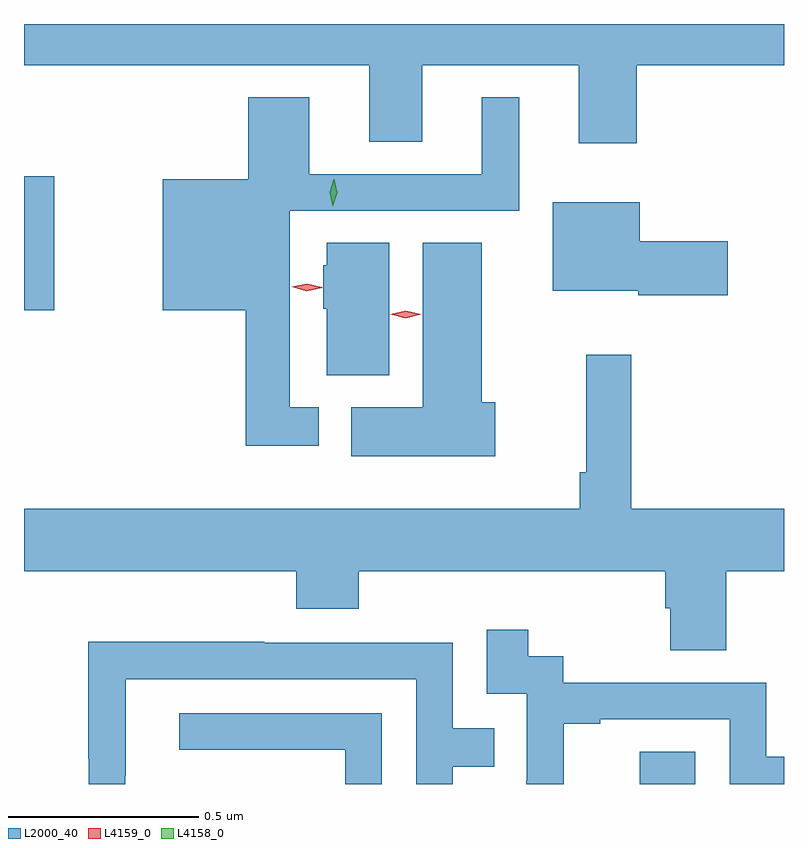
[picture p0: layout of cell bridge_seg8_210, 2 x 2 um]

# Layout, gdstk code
import gdstk
lib = gdstk.Library(unit=1e-6, precision=1e-09)
def R(c, l, rs):  # rectangles x0, y0, x1, y1
    for r in rs: c.add(gdstk.rectangle(r[:2], r[2:], *l))
def P(c, l, *ps):  # polygons
    for p in ps: c.add(gdstk.Polygon(p, *l))
L2000_40 = (2000, 40)
L4158_0 = (4158, 0)
L4159_0 = (4159, 0)

bridge_seg8_210 = lib.new_cell('bridge_seg8_210')
R(bridge_seg8_210, L2000_40, [(160.827,1105.284,160.974,1105.369), (159.207,1106.531,159.286,1106.884)])
P(bridge_seg8_210, L2000_40, [(160.82,1107.176),(161.207,1107.176),(161.207,1107.284),(159.207,1107.284),(159.207,1107.176),(160.115,1107.176),(160.115,1106.974),(160.255,1106.974),(160.255,1107.176),(160.667,1107.176),(160.667,1106.97),(160.82,1106.97)],
  [(159.983,1106.276),(159.906,1106.276),(159.906,1106.793),(160.51,1106.793),(160.51,1107.091),(160.412,1107.091),(160.412,1106.889),(159.958,1106.889),(159.958,1107.091),(159.797,1107.091),(159.797,1106.875),(159.572,1106.875),(159.572,1106.531),(159.79,1106.531),(159.79,1106.174),(159.983,1106.174)],
  [(161.059,1106.712),(160.828,1106.712),(160.828,1106.815),(160.598,1106.815),(160.598,1106.582),(160.824,1106.582),(160.824,1106.57),(161.059,1106.57)],
  [(160.447,1106.288),(160.411,1106.288),(160.411,1106.708),(160.256,1106.708),(160.256,1106.275),(160.068,1106.275),(160.068,1106.147),(160.447,1106.147)],
  [(160.168,1106.708),(160.004,1106.708),(160.004,1106.649),(159.995,1106.649),(159.995,1106.535),(160.004,1106.535),(160.004,1106.36),(160.168,1106.36)],
  [(161.055,1105.844),(161.207,1105.844),(161.207,1106.008),(160.805,1106.008),(160.805,1106.413),(160.687,1106.413),(160.687,1106.104),(160.669,1106.104),(160.669,1106.008),(159.207,1106.008),(159.207,1105.844),(159.923,1105.844),(159.923,1105.745),(160.088,1105.745),(160.088,1105.844),(160.895,1105.844),(160.895,1105.746),(160.907,1105.746),(160.907,1105.636),(161.055,1105.636)],
  [(160.628,1105.443),(160.723,1105.443),(160.723,1105.455),(161.064,1105.455),(161.064,1105.284),(161.207,1105.284),(161.207,1105.356),(161.16,1105.356),(161.16,1105.551),(160.626,1105.551),(160.626,1105.62),(160.534,1105.62),(160.534,1105.69),(160.425,1105.69),(160.425,1105.521),(160.53,1105.521),(160.53,1105.292),(160.529,1105.292),(160.529,1105.284),(160.628,1105.284)],
  [(159.474,1105.306),(159.475,1105.306),(159.475,1105.56),(160.239,1105.56),(160.239,1105.284),(160.335,1105.284),(160.335,1105.33),(160.445,1105.33),(160.445,1105.431),(160.335,1105.431),(160.335,1105.656),(159.839,1105.656),(159.839,1105.658),(159.376,1105.658),(159.376,1105.351),(159.378,1105.351),(159.378,1105.284),(159.474,1105.284)],
  [(160.149,1105.47),(159.615,1105.47),(159.615,1105.374),(160.053,1105.374),(160.053,1105.284),(160.149,1105.284)])
P(bridge_seg8_210, L4158_0, [(160.019,1106.805),(160.011,1106.841),(160.022,1106.876),(160.022,1106.876),(160.023,1106.876),(160.031,1106.84),(160.02,1106.805),(160.02,1106.805)])
P(bridge_seg8_210, L4159_0, [(160.211,1106.51),(160.171,1106.52),(160.171,1106.52),(160.171,1106.52),(160.211,1106.53),(160.252,1106.52),(160.252,1106.52),(160.252,1106.52)],
  [(159.951,1106.581),(159.911,1106.592),(159.91,1106.592),(159.911,1106.592),(159.952,1106.601),(159.992,1106.591),(159.992,1106.59),(159.992,1106.59)])

lib.write_gds('bridge_seg8_210.gds')
